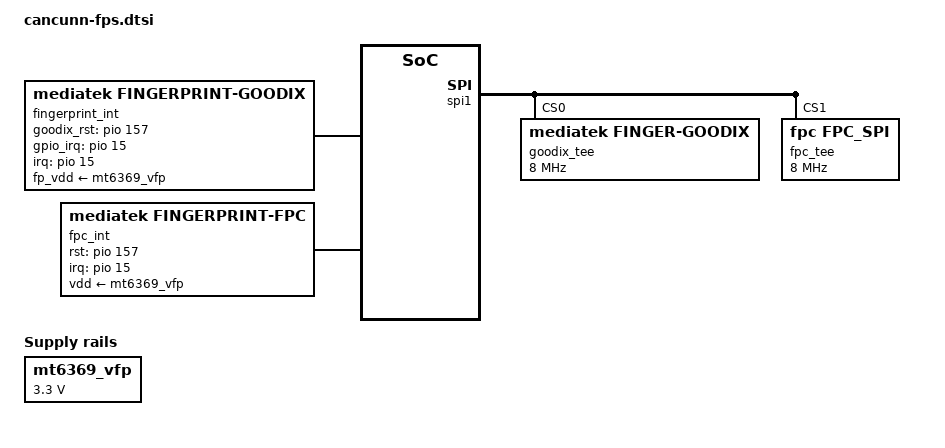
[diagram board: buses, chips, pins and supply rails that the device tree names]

&mt6369_vfp {
	regulator-min-microvolt = <3300000>;
	regulator-max-microvolt = <3300000>;
//	regulator-always-on;
};

&pio {

        fingerfp_rst_high: fingerfp_rst_high {
                pins_cmd_dat {
                        pinmux = <PINMUX_GPIO157__FUNC_GPIO157>;
                        slew-rate = <1>;
                        output-high;
                };
        };

        fingerfp_rst_low: fingerfp_rst_low {
                pins_cmd_dat {
                        pinmux = <PINMUX_GPIO157__FUNC_GPIO157>;
                        slew-rate = <1>;
                        output-low;
                };
        };

        fingerfp_irq_active: fingerfp_irq_active {
                pins_cmd_dat {
                        pinmux = <PINMUX_GPIO15__FUNC_GPIO15>;
                        slew-rate = <0>;
                        bias-disable;
                };
        };

        fingerfp_spi_active: fingerfp_spi_active {
                pins_cmd_dat {
                        pinmux = <PINMUX_GPIO68__FUNC_SPI1_MI>, <PINMUX_GPIO66__FUNC_SPI1_CSB>, <PINMUX_GPIO67__FUNC_SPI1_MO>, <PINMUX_GPIO65__FUNC_SPI1_CLK>;
                        drive-strength = <2>;
                };
        };

        fingerfp_spi_default: fingerfp_spi_default {
                pins_cmd_dat {
                        pinmux = <PINMUX_GPIO68__FUNC_GPIO68>, <PINMUX_GPIO66__FUNC_GPIO66>, <PINMUX_GPIO67__FUNC_GPIO67>, <PINMUX_GPIO65__FUNC_GPIO65>;
                        slew-rate = <1>;
                        output-low;
                };
        };
        fingerprint_irq: fingerprint_irq {
                pins_cmd_dat {
                        pinmux = <PINMUX_GPIO15__FUNC_GPIO15>;
                        slew-rate = <0>;
                        bias-disable;
                };
        };

        fingerprint_reset_high: fingerprint_reset_high {
                pins_cmd_dat {
                        pinmux = <PINMUX_GPIO157__FUNC_GPIO157>;
                        slew-rate = <1>;
                        output-high;
                };
        };

        fingerprint_reset_low: fingerprint_reset_low {
                pins_cmd_dat {
                        pinmux = <PINMUX_GPIO157__FUNC_GPIO157>;
                        slew-rate = <1>;
                        output-low;
                };
        };
 };

/* FINGERPRINT start */
&spi1 {
        status = "okay";
        mediatek,pad-select = <0>, <1>;
        tee-only;

        goodix_tee@0 {
                compatible = "mediatek,finger-goodix";
                reg = <0>;
                spi-max-frequency = <8000000>;
                netlink-event = <30>;
                status = "okay";
        };

        fpc_tee@1 {
                compatible = "fpc,fpc_spi";
                reg = <1>;
                fpc,enable-wakeup;
                spi-max-frequency = <8000000>;
                netlink-event = <31>;
                status = "okay";
        };
/*
        chipone_tee@1 {
                status = "okay";
                compatible = "mediatek,finger-chipone";
                reg = <1>;
                spi-max-frequency = <10000000>;
                netlink-event = <30>;
        };
*/
};

&odm {

        fingerprint_int: fingerprint_int {
                compatible = "mediatek,fingerprint-goodix";
                fp_vdd-supply = <&mt6369_vfp>;
                interrupt-parent = <&pio>;
                goodix_rst = <&pio 157 0x00>;
                gf,gpio_irq = <&pio 15 0x00>;
                interrupts = <15 IRQ_TYPE_EDGE_RISING 15 0>;
                pinctrl-names = "fingerprint_irq", "fingerprint_reset_high", "fingerprint_reset_low";
                pinctrl-0 = <&fingerprint_irq>;
                pinctrl-1 = <&fingerprint_reset_high>;
                pinctrl-2 = <&fingerprint_reset_low>;
                status = "okay";
        };

        fpc_int: fpc_int {
                compatible = "mediatek,fingerprint-fpc";
                fpc,enable-wakeup;
                interrupt-parent = <&pio>;
                interrupts = <15 IRQ_TYPE_EDGE_RISING 15 0>;
                rgltr-ctrl-support;
                fp,vdd-supply = <&mt6369_vfp>;
                fp,voltage-range = <3300000 3300000>;
                fp,vdd-current = <100000>;
                pinctrl-names = "fingerprint_irq", "fingerprint_reset_high", "fingerprint_reset_low";
                pinctrl-0 = <&fingerprint_irq>;
                pinctrl-1 = <&fingerprint_reset_high>;
                pinctrl-2 = <&fingerprint_reset_low>;
                fpc,rst= <&pio 157 0>;
                fpc,irq = <&pio 15 0>;
                status = "okay";
        };
/*
        chipone_int: chipone_int {
                compatible = "mediatek,chipone-fingerprint";
chipone,enable-wakeup;
                fp_vdd-supply = <&mt6369_vfp>;
                interrupt-parent = <&pio>;
                interrupts = <15 IRQ_TYPE_EDGE_RISING 15 0>;
                pinctrl-names = "fingerprint_reset_low", "fingerprint_reset_high" , "fingerprint_irq";
                pinctrl-0 = <&fingerprint_reset_low>;
                pinctrl-1 = <&fingerprint_reset_high>;
                pinctrl-2 = <&fingerprint_irq>;
                chipone,irq = <&pio 15 0>;
                status = "okay";
        };
*/
};

